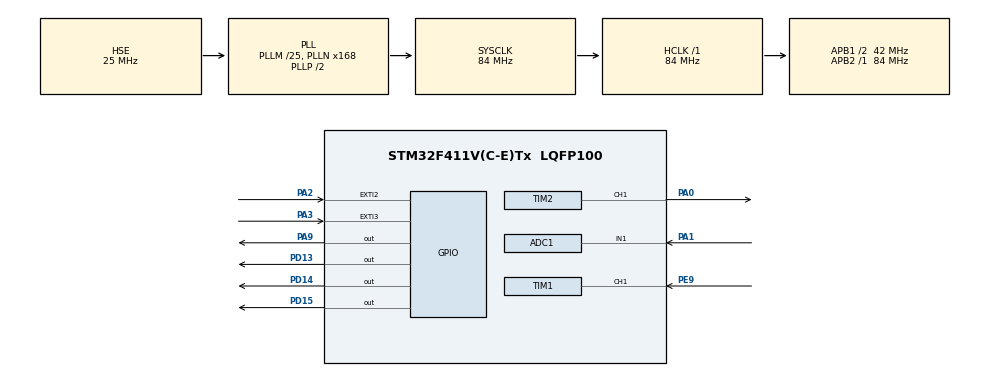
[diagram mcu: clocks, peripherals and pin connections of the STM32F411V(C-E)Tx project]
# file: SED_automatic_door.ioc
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ADC1.Channel-0\#ChannelRegularConversion=ADC_CHANNEL_VREFINT
ADC1.Channel-1\#ChannelRegularConversion=ADC_CHANNEL_TEMPSENSOR
ADC1.ContinuousConvMode=ENABLE
ADC1.DMAContinuousRequests=ENABLE
ADC1.ExternalTrigConv=ADC_EXTERNALTRIGCONV_T3_TRGO
ADC1.NbrOfConversion=2
ADC1.NbrOfConversionFlag=1
ADC1.Rank-0\#ChannelRegularConversion=1
ADC1.Rank-1\#ChannelRegularConversion=2
ADC1.Resolution=ADC_RESOLUTION_8B
ADC1.SamplingTime-0\#ChannelRegularConversion=ADC_SAMPLETIME_480CYCLES
ADC1.SamplingTime-1\#ChannelRegularConversion=ADC_SAMPLETIME_480CYCLES
ADC1.ScanConvMode=ENABLE
ADC1.master=1
Dma.ADC1.0.Direction=DMA_PERIPH_TO_MEMORY
Dma.ADC1.0.FIFOMode=DMA_FIFOMODE_DISABLE
Dma.ADC1.0.Instance=DMA2_Stream0
Dma.ADC1.0.MemDataAlignment=DMA_MDATAALIGN_HALFWORD
Dma.ADC1.0.MemInc=DMA_MINC_ENABLE
Dma.ADC1.0.Mode=DMA_CIRCULAR
Dma.ADC1.0.PeriphDataAlignment=DMA_PDATAALIGN_HALFWORD
Dma.ADC1.0.PeriphInc=DMA_PINC_DISABLE
Dma.ADC1.0.Priority=DMA_PRIORITY_LOW
Dma.Request0=ADC1
Mcu.Family=STM32F4
Mcu.Name=STM32F411V(C-E)Tx
Mcu.Package=LQFP100
NVIC.ADC_IRQn=true\:0\:0\:false\:false\:true\:true\:true\:true
NVIC.DMA2_Stream0_IRQn=true\:0\:0\:false\:false\:true\:false\:true\:true
NVIC.EXTI2_IRQn=true\:0\:0\:false\:false\:true\:true\:true\:true
NVIC.EXTI3_IRQn=true\:0\:0\:false\:false\:true\:true\:true\:true
NVIC.PriorityGroup=NVIC_PRIORITYGROUP_0
NVIC.TIM1_CC_IRQn=true\:0\:0\:false\:false\:true\:true\:true\:true
NVIC.TIM2_IRQn=true\:0\:0\:false\:false\:true\:true\:true\:true
PA0-WKUP.Signal=S_TIM2_CH1_ETR
PA1.Signal=ADCx_IN1
PA13.Mode=Serial_Wire
PA13.Signal=SYS_JTMS-SWDIO
PA14.Mode=Serial_Wire
PA14.Signal=SYS_JTCK-SWCLK
PA2.Signal=GPXTI2
PA3.Signal=GPXTI3
PA9.Signal=GPIO_Output
PD13.Signal=GPIO_Output
PD14.Signal=GPIO_Output
PD15.Signal=GPIO_Output
PE9.Signal=S_TIM1_CH1
PH0\ -\ OSC_IN.Mode=HSE-External-Oscillator
PH0\ -\ OSC_IN.Signal=RCC_OSC_IN
PH1\ -\ OSC_OUT.Mode=HSE-External-Oscillator
PH1\ -\ OSC_OUT.Signal=RCC_OSC_OUT
ProjectManager.HeapSize=0x200
ProjectManager.StackSize=0x400
ProjectManager.TargetToolchain=STM32CubeIDE
RCC.48MHZClocksFreq_Value=21000000
RCC.AHBFreq_Value=84000000
RCC.APB1CLKDivider=RCC_HCLK_DIV2
RCC.APB1Freq_Value=42000000
RCC.APB1TimFreq_Value=84000000
RCC.APB2Freq_Value=84000000
RCC.APB2TimFreq_Value=84000000
RCC.CortexFreq_Value=84000000
RCC.HCLKFreq_Value=84000000
RCC.HSE_VALUE=25000000
RCC.HSI_VALUE=16000000
RCC.LSE_VALUE=32768
RCC.PLLI2SM=5
RCC.PLLI2SN=200
RCC.PLLM=25
RCC.PLLN=168
RCC.PLLQ=8
RCC.PLLSourceVirtual=RCC_PLLSOURCE_HSE
RCC.SYSCLKFreq_VALUE=84000000
RCC.SYSCLKSource=RCC_SYSCLKSOURCE_PLLCLK
RCC.VCOOutputFreq_Value=168000000
SH.ADCx_IN1.0=ADC1_IN1,IN1
SH.S_TIM1_CH1.0=TIM1_CH1,Input_Capture1_from_TI1
SH.S_TIM2_CH1_ETR.0=TIM2_CH1,PWM Generation1 CH1
TIM1.Channel-Input_Capture1_from_TI1=TIM_CHANNEL_1
TIM1.Period=65535-1
TIM1.Prescaler=71
TIM2.Channel-PWM\ Generation1\ CH1=TIM_CHANNEL_1
TIM2.Period=1000
TIM2.Prescaler=720
TIM3.Period=10000-1
TIM3.TIM_MasterOutputTrigger=TIM_TRGO_UPDATE
VP_ADC1_TempSens_Input.Mode=IN-TempSens
VP_ADC1_Vref_Input.Mode=IN-Vrefint
VP_TIM2_VS_ClockSourceINT.Mode=Internal
VP_TIM3_VS_ClockSourceINT.Mode=Internal
board=STM32F411E-DISCO

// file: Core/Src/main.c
/* USER CODE BEGIN Header */
/**
  ******************************************************************************
  * @file           : main.c
  * @brief          : Main program body
  ******************************************************************************
  * @attention
  *
  * Copyright (c) 2023 STMicroelectronics.
  * All rights reserved.
  *
  * This software is licensed under terms that can be found in the LICENSE file
  * in the root directory of this software component.
  * If no LICENSE file comes with this software, it is provided AS-IS.
  *
  ******************************************************************************
  */
/* USER CODE END Header */
#include "main.h"

ADC_HandleTypeDef hadc1;
DMA_HandleTypeDef hdma_adc1;

TIM_HandleTypeDef htim1;
TIM_HandleTypeDef htim2;
TIM_HandleTypeDef htim3;

/* USER CODE BEGIN PV */
//---------------------------------------------------- Mark
uint16_t AdcRaw[2];
uint8_t AdcConvCmplt=0;
double V_ref;
double TempC;
int tempC;
/* USER CODE END PV */

void SystemClock_Config(void);
static void MX_GPIO_Init(void);
static void MX_DMA_Init(void);
static void MX_TIM1_Init(void);
static void MX_TIM2_Init(void);
static void MX_ADC1_Init(void);
static void MX_TIM3_Init(void);

/* USER CODE BEGIN 0 */
//------------------------------------------------------------------- Javi
//FUNCION INUNTIL, pero se dejará pues no molesta al programa
void delay (uint16_t time)
{
	__HAL_TIM_SET_COUNTER(&htim1, 0);
	while (__HAL_TIM_GET_COUNTER (&htim1) < time);
}

//Ultrasonido
uint32_t IC_Val1 = 0;
uint32_t IC_Val2 = 0;
uint32_t Difference = 0;
uint32_t Is_First_Captured = 0;  // is the first value captured ?
uint32_t Distance  = 0;

//servo
int i = 25;

//Flags
int STBY = 1;
int RUN = 0;

#define TRIG_PIN GPIO_PIN_9
#define TRIG_PORT GPIOA

// callback function

void HAL_TIM_IC_CaptureCallback(TIM_HandleTypeDef *htim)
{
	if (htim->Channel == HAL_TIM_ACTIVE_CHANNEL_1)  // if the interrupt source is channel1
	{
		if (Is_First_Captured==0) // if the first value is not captured
		{
			IC_Val1 = HAL_TIM_ReadCapturedValue(htim, TIM_CHANNEL_1); // read the first value
			Is_First_Captured = 1;  // set the first captured as true
			// Now change the polarity to falling edge
			__HAL_TIM_SET_CAPTUREPOLARITY(htim, TIM_CHANNEL_1, TIM_INPUTCHANNELPOLARITY_FALLING);
		}

		else if (Is_First_Captured==1)   // if the first is already captured
		{
			IC_Val2 = HAL_TIM_ReadCapturedValue(htim, TIM_CHANNEL_1);  // read second value
			__HAL_TIM_SET_COUNTER(htim, 0);  // reset the counter

			if (IC_Val2 > IC_Val1)
			{
				Difference = IC_Val2-IC_Val1;
			}

			else if (IC_Val1 > IC_Val2)
			{
				Difference = (0xffff - IC_Val1) + IC_Val2;
			}

			Distance = Difference * .034/2;
			Is_First_Captured = 0; // set it back to false

			// set polarity to rising edge
			__HAL_TIM_SET_CAPTUREPOLARITY(htim, TIM_CHANNEL_1, TIM_INPUTCHANNELPOLARITY_RISING);
			__HAL_TIM_DISABLE_IT(&htim1, TIM_IT_CC1);
		}
	}
}

void HCSR04_Read (void)
{
	HAL_GPIO_WritePin(TRIG_PORT, TRIG_PIN, GPIO_PIN_SET);  // pull the TRIG pin HIGH
	HAL_Delay(0.01);  // wait for 10 us
	HAL_GPIO_WritePin(TRIG_PORT, TRIG_PIN, GPIO_PIN_RESET);  // pull the TRIG pin low

	__HAL_TIM_ENABLE_IT(&htim1, TIM_IT_CC1);
}
//------------------------------------------------------------------- Jose
// Light
int16_t adcval;
#define LIGHT_LIMIT 15
#define MAX_MODES 2
volatile int LIGHT_MODE = 1;

void HAL_GPIO_EXTI_Callback(uint16_t GPIO_Pin)
{
	if(GPIO_Pin == GPIO_PIN_2){
		LIGHT_MODE++;
		if(LIGHT_MODE > MAX_MODES)
			LIGHT_MODE = 1;
	}
	if((GPIO_Pin == GPIO_PIN_3) && LIGHT_MODE == 1){
		HAL_GPIO_TogglePin(GPIOD, GPIO_PIN_13);
	}
}
/* USER CODE END 0 */

int main(void)
{

  /* MCU Configuration--------------------------------------------------------*/

  /* Reset of all peripherals, Initializes the Flash interface and the Systick. */
  HAL_Init();

  /* Configure the system clock */
  SystemClock_Config();

  /* Initialize all configured peripherals */
  MX_GPIO_Init();
  MX_DMA_Init();
  MX_TIM1_Init();
  MX_TIM2_Init();
  MX_ADC1_Init();
  MX_TIM3_Init();
  /* USER CODE BEGIN 2 */
  //-------------------------------------- Javi
  HAL_TIM_IC_Start_IT(&htim1, TIM_CHANNEL_1); //IC para Ultrasonido
  HAL_TIM_PWM_Start(&htim2, TIM_CHANNEL_1); //PWM timer para el servo
  htim2.Instance->CCR1 = 25;
  //-------------------------------------- Mark
  HAL_ADC_Start_DMA(&hadc1,(uint32_t*)AdcRaw ,2 );
   HAL_TIM_Base_Start(&htim3);

 #define VREF 1.21
 #define ADCMAX 4095

 #define V25 0.76
 #define AVG_SLOPE 0.0025
 #define Tempcalderaon 20
 #define Tempcalderaoff 22
  /* USER CODE END 2 */

  /* Infinite loop */
  while (1)
  {

    /* USER CODE BEGIN 3 */
	  //---------------------------------------------------- Mark
	  if(AdcConvCmplt) {
	  		 double Vref=(VREF*ADCMAX)/AdcRaw[0];
	  		 V_ref=Vref;
	           double VTmpSens = Vref*AdcRaw[1]/ADCMAX;
	  		 TempC= ((VTmpSens -V25)/AVG_SLOPE) +25;
	  		 tempC=TempC;
	  	 AdcConvCmplt=0;
	  	}
	  	if(tempC < Tempcalderaon){
	  	         		HAL_GPIO_WritePin(GPIOD,GPIO_PIN_14,1);
	  	         		}
	  	       	 if(tempC > Tempcalderaoff)
	  	         		{
	  	         		HAL_GPIO_WritePin(GPIOD,GPIO_PIN_14,0);
	  	         		}
	  //---------------------------------------------------- Javi
	  HCSR04_Read();
	  HAL_Delay(200);
	  if (Distance < 10)
	  {
		  //i = 25;
		  HAL_GPIO_WritePin(GPIOD, GPIO_PIN_15, GPIO_PIN_SET);
		  while (i<125 && STBY)
		  {
			  htim2.Instance->CCR1 = i;
			  i++;
			  HAL_Delay(100);
		  }
		  STBY = 0;
		  RUN = 1;
	  }
	  else
	  {
		  //i = 125;
		  HAL_GPIO_WritePin(GPIOD, GPIO_PIN_15, GPIO_PIN_RESET);
		  while (i>25 && RUN && Distance > 10)
		  	{
			  htim2.Instance->CCR1 = i;
			  i--;
			  HAL_Delay(100);
			  HCSR04_Read();
		  	}
		  STBY = 1;
		  RUN = 0;
	  }
	  //------------------------------------------------------- Jose
	  switch (LIGHT_MODE){
	  case 1:
		  break;
	  case 2:
		  //Conversor
		  HAL_ADC_Start(&hadc1);
		  if(HAL_ADC_PollForConversion(&hadc1, 100) == HAL_OK)
			adcval = HAL_ADC_GetValue(&hadc1);
		  HAL_ADC_Stop(&hadc1);
		  //Turns on or off the light
		  if (adcval > LIGHT_LIMIT)
			HAL_GPIO_WritePin(GPIOD, GPIO_PIN_13, 0);
		  else
			HAL_GPIO_WritePin(GPIOD, GPIO_PIN_13, 1);
		  break;
	  }
  }
  /* USER CODE END 3 */
}

void SystemClock_Config(void)
{
  RCC_OscInitTypeDef RCC_OscInitStruct = {0};
  RCC_ClkInitTypeDef RCC_ClkInitStruct = {0};

  /** Configure the main internal regulator output voltage
  */
  __HAL_RCC_PWR_CLK_ENABLE();
  __HAL_PWR_VOLTAGESCALING_CONFIG(PWR_REGULATOR_VOLTAGE_SCALE1);

  /** Initializes the RCC Oscillators according to the specified parameters
  * in the RCC_OscInitTypeDef structure.
  */
  RCC_OscInitStruct.OscillatorType = RCC_OSCILLATORTYPE_HSE;
  RCC_OscInitStruct.HSEState = RCC_HSE_ON;
  RCC_OscInitStruct.PLL.PLLState = RCC_PLL_ON;
  RCC_OscInitStruct.PLL.PLLSource = RCC_PLLSOURCE_HSE;
  RCC_OscInitStruct.PLL.PLLM = 25;
  RCC_OscInitStruct.PLL.PLLN = 168;
  RCC_OscInitStruct.PLL.PLLP = RCC_PLLP_DIV2;
  RCC_OscInitStruct.PLL.PLLQ = 8;
  if (HAL_RCC_OscConfig(&RCC_OscInitStruct) != HAL_OK)
  {
    Error_Handler();
  }

  /** Initializes the CPU, AHB and APB buses clocks
  */
  RCC_ClkInitStruct.ClockType = RCC_CLOCKTYPE_HCLK|RCC_CLOCKTYPE_SYSCLK
                              |RCC_CLOCKTYPE_PCLK1|RCC_CLOCKTYPE_PCLK2;
  RCC_ClkInitStruct.SYSCLKSource = RCC_SYSCLKSOURCE_PLLCLK;
  RCC_ClkInitStruct.AHBCLKDivider = RCC_SYSCLK_DIV1;
  RCC_ClkInitStruct.APB1CLKDivider = RCC_HCLK_DIV2;
  RCC_ClkInitStruct.APB2CLKDivider = RCC_HCLK_DIV1;

  if (HAL_RCC_ClockConfig(&RCC_ClkInitStruct, FLASH_LATENCY_2) != HAL_OK)
  {
    Error_Handler();
  }
}

static void MX_ADC1_Init(void)
{

  ADC_ChannelConfTypeDef sConfig = {0};

  /** Configure the global features of the ADC (Clock, Resolution, Data Alignment and number of conversion)
  */
  hadc1.Instance = ADC1;
  hadc1.Init.ClockPrescaler = ADC_CLOCK_SYNC_PCLK_DIV4;
  hadc1.Init.Resolution = ADC_RESOLUTION_8B;
  hadc1.Init.ScanConvMode = ENABLE;
  hadc1.Init.ContinuousConvMode = ENABLE;
  hadc1.Init.DiscontinuousConvMode = DISABLE;
  hadc1.Init.ExternalTrigConvEdge = ADC_EXTERNALTRIGCONVEDGE_RISING;
  hadc1.Init.ExternalTrigConv = ADC_EXTERNALTRIGCONV_T3_TRGO;
  hadc1.Init.DataAlign = ADC_DATAALIGN_RIGHT;
  hadc1.Init.NbrOfConversion = 2;
  hadc1.Init.DMAContinuousRequests = ENABLE;
  hadc1.Init.EOCSelection = ADC_EOC_SINGLE_CONV;
  if (HAL_ADC_Init(&hadc1) != HAL_OK)
  {
    Error_Handler();
  }

  /** Configure for the selected ADC regular channel its corresponding rank in the sequencer and its sample time.
  */
  sConfig.Channel = ADC_CHANNEL_VREFINT;
  sConfig.Rank = 1;
  sConfig.SamplingTime = ADC_SAMPLETIME_480CYCLES;
  if (HAL_ADC_ConfigChannel(&hadc1, &sConfig) != HAL_OK)
  {
    Error_Handler();
  }

  /** Configure for the selected ADC regular channel its corresponding rank in the sequencer and its sample time.
  */
  sConfig.Channel = ADC_CHANNEL_TEMPSENSOR;
  sConfig.Rank = 2;
  if (HAL_ADC_ConfigChannel(&hadc1, &sConfig) != HAL_OK)
  {
    Error_Handler();
  }

}

static void MX_TIM1_Init(void)
{

  TIM_MasterConfigTypeDef sMasterConfig = {0};
  TIM_IC_InitTypeDef sConfigIC = {0};

  htim1.Instance = TIM1;
  htim1.Init.Prescaler = 71;
  htim1.Init.CounterMode = TIM_COUNTERMODE_UP;
  htim1.Init.Period = 65535-1;
  htim1.Init.ClockDivision = TIM_CLOCKDIVISION_DIV1;
  htim1.Init.RepetitionCounter = 0;
  htim1.Init.AutoReloadPreload = TIM_AUTORELOAD_PRELOAD_DISABLE;
  if (HAL_TIM_IC_Init(&htim1) != HAL_OK)
  {
    Error_Handler();
  }
  sMasterConfig.MasterOutputTrigger = TIM_TRGO_RESET;
  sMasterConfig.MasterSlaveMode = TIM_MASTERSLAVEMODE_DISABLE;
  if (HAL_TIMEx_MasterConfigSynchronization(&htim1, &sMasterConfig) != HAL_OK)
  {
    Error_Handler();
  }
  sConfigIC.ICPolarity = TIM_INPUTCHANNELPOLARITY_RISING;
  sConfigIC.ICSelection = TIM_ICSELECTION_DIRECTTI;
  sConfigIC.ICPrescaler = TIM_ICPSC_DIV1;
  sConfigIC.ICFilter = 0;
  if (HAL_TIM_IC_ConfigChannel(&htim1, &sConfigIC, TIM_CHANNEL_1) != HAL_OK)
  {
    Error_Handler();
  }

}

static void MX_TIM2_Init(void)
{

  TIM_ClockConfigTypeDef sClockSourceConfig = {0};
  TIM_MasterConfigTypeDef sMasterConfig = {0};
  TIM_OC_InitTypeDef sConfigOC = {0};

  htim2.Instance = TIM2;
  htim2.Init.Prescaler = 720;
  htim2.Init.CounterMode = TIM_COUNTERMODE_UP;
  htim2.Init.Period = 1000;
  htim2.Init.ClockDivision = TIM_CLOCKDIVISION_DIV1;
  htim2.Init.AutoReloadPreload = TIM_AUTORELOAD_PRELOAD_DISABLE;
  if (HAL_TIM_Base_Init(&htim2) != HAL_OK)
  {
    Error_Handler();
  }
  sClockSourceConfig.ClockSource = TIM_CLOCKSOURCE_INTERNAL;
  if (HAL_TIM_ConfigClockSource(&htim2, &sClockSourceConfig) != HAL_OK)
  {
    Error_Handler();
  }
  if (HAL_TIM_PWM_Init(&htim2) != HAL_OK)
  {
    Error_Handler();
  }
  sMasterConfig.MasterOutputTrigger = TIM_TRGO_RESET;
  sMasterConfig.MasterSlaveMode = TIM_MASTERSLAVEMODE_DISABLE;
  if (HAL_TIMEx_MasterConfigSynchronization(&htim2, &sMasterConfig) != HAL_OK)
  {
    Error_Handler();
  }
  sConfigOC.OCMode = TIM_OCMODE_PWM1;
  sConfigOC.Pulse = 0;
  sConfigOC.OCPolarity = TIM_OCPOLARITY_HIGH;
  sConfigOC.OCFastMode = TIM_OCFAST_DISABLE;
  if (HAL_TIM_PWM_ConfigChannel(&htim2, &sConfigOC, TIM_CHANNEL_1) != HAL_OK)
  {
    Error_Handler();
  }
  HAL_TIM_MspPostInit(&htim2);

}

static void MX_TIM3_Init(void)
{

  TIM_ClockConfigTypeDef sClockSourceConfig = {0};
  TIM_MasterConfigTypeDef sMasterConfig = {0};

  htim3.Instance = TIM3;
  htim3.Init.Prescaler = 0;
  htim3.Init.CounterMode = TIM_COUNTERMODE_UP;
  htim3.Init.Period = 10000-1;
  htim3.Init.ClockDivision = TIM_CLOCKDIVISION_DIV1;
  htim3.Init.AutoReloadPreload = TIM_AUTORELOAD_PRELOAD_DISABLE;
  if (HAL_TIM_Base_Init(&htim3) != HAL_OK)
  {
    Error_Handler();
  }
  sClockSourceConfig.ClockSource = TIM_CLOCKSOURCE_INTERNAL;
  if (HAL_TIM_ConfigClockSource(&htim3, &sClockSourceConfig) != HAL_OK)
  {
    Error_Handler();
  }
  sMasterConfig.MasterOutputTrigger = TIM_TRGO_UPDATE;
  sMasterConfig.MasterSlaveMode = TIM_MASTERSLAVEMODE_DISABLE;
  if (HAL_TIMEx_MasterConfigSynchronization(&htim3, &sMasterConfig) != HAL_OK)
  {
    Error_Handler();
  }

}

static void MX_DMA_Init(void)
{

  /* DMA controller clock enable */
  __HAL_RCC_DMA2_CLK_ENABLE();

  /* DMA interrupt init */
  /* DMA2_Stream0_IRQn interrupt configuration */
  HAL_NVIC_SetPriority(DMA2_Stream0_IRQn, 0, 0);
  HAL_NVIC_EnableIRQ(DMA2_Stream0_IRQn);

}

static void MX_GPIO_Init(void)
{
  GPIO_InitTypeDef GPIO_InitStruct = {0};

  /* GPIO Ports Clock Enable */
  __HAL_RCC_GPIOH_CLK_ENABLE();
  __HAL_RCC_GPIOA_CLK_ENABLE();
  __HAL_RCC_GPIOE_CLK_ENABLE();
  __HAL_RCC_GPIOD_CLK_ENABLE();

  /*Configure GPIO pin Output Level */
  HAL_GPIO_WritePin(GPIOD, GPIO_PIN_13|GPIO_PIN_14|GPIO_PIN_15, GPIO_PIN_RESET);

  /*Configure GPIO pin Output Level */
  HAL_GPIO_WritePin(GPIOA, GPIO_PIN_9, GPIO_PIN_RESET);

  /*Configure GPIO pins : PA2 PA3 */
  GPIO_InitStruct.Pin = GPIO_PIN_2|GPIO_PIN_3;
  GPIO_InitStruct.Mode = GPIO_MODE_IT_RISING;
  GPIO_InitStruct.Pull = GPIO_NOPULL;
  HAL_GPIO_Init(GPIOA, &GPIO_InitStruct);

  /*Configure GPIO pins : PD13 PD14 PD15 */
  GPIO_InitStruct.Pin = GPIO_PIN_13|GPIO_PIN_14|GPIO_PIN_15;
  GPIO_InitStruct.Mode = GPIO_MODE_OUTPUT_PP;
  GPIO_InitStruct.Pull = GPIO_NOPULL;
  GPIO_InitStruct.Speed = GPIO_SPEED_FREQ_LOW;
  HAL_GPIO_Init(GPIOD, &GPIO_InitStruct);

  /*Configure GPIO pin : PA9 */
  GPIO_InitStruct.Pin = GPIO_PIN_9;
  GPIO_InitStruct.Mode = GPIO_MODE_OUTPUT_PP;
  GPIO_InitStruct.Pull = GPIO_NOPULL;
  GPIO_InitStruct.Speed = GPIO_SPEED_FREQ_LOW;
  HAL_GPIO_Init(GPIOA, &GPIO_InitStruct);

  /* EXTI interrupt init*/
  HAL_NVIC_SetPriority(EXTI2_IRQn, 0, 0);
  HAL_NVIC_EnableIRQ(EXTI2_IRQn);

  HAL_NVIC_SetPriority(EXTI3_IRQn, 0, 0);
  HAL_NVIC_EnableIRQ(EXTI3_IRQn);

}

/* USER CODE BEGIN 4 */
void HAL_ADC_ConvCpltCallback(ADC_HandleTypeDef* hadc)
{
 if(hadc->Instance == ADC1)	{
 AdcConvCmplt=255;
 }
}

/* USER CODE END 4 */

void Error_Handler(void)
{
  __disable_irq();
  while (1)
  {
  }
}
